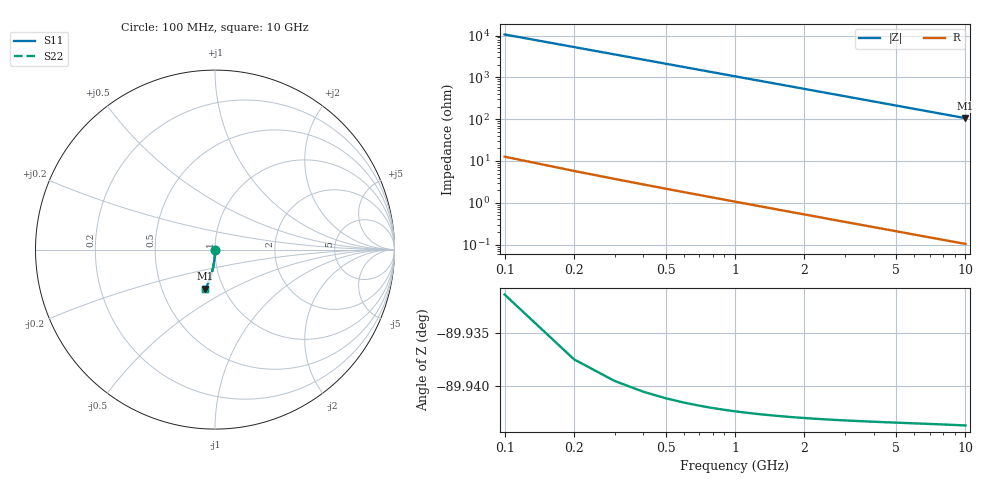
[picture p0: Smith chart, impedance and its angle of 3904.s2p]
# Hz S RI R 50.00
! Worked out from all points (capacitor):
!   100 points, 100 MHz to 10 GHz, reference 50 ohm
!   read as one part in shunt: C = 150 fF near 100 MHz
!   lowest |Z| = 106 ohm at 10 GHz (marker M1)
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1e8  1.94e-05 -0.0023  1 -0.00242  1 -0.00242  1.94e-05 -0.0023
2e8  5.58e-07 -0.00461  0.9999 -0.00483  0.9999 -0.00483  5.58e-07 -0.00461
3e8  -2.95e-05 -0.00691  0.9999 -0.00725  0.9999 -0.00725  -2.95e-05 -0.00691
4e8  -7.06e-05 -0.00921  0.9999 -0.00967  0.9999 -0.00967  -7.06e-05 -0.00921
5e8  -0.000123 -0.0115  0.9998 -0.0121  0.9998 -0.0121  -0.000123 -0.0115
6e8  -0.000186 -0.0138  0.9998 -0.0145  0.9998 -0.0145  -0.000186 -0.0138
7e8  -0.000261 -0.0161  0.9997 -0.0169  0.9997 -0.0169  -0.000261 -0.0161
8e8  -0.000347 -0.0184  0.9996 -0.0193  0.9996 -0.0193  -0.000347 -0.0184
9e8  -0.000444 -0.0207  0.9995 -0.0217  0.9995 -0.0217  -0.000444 -0.0207
1.1e9  -0.000671 -0.0253  0.9993 -0.0266  0.9993 -0.0266  -0.000671 -0.0253
1.4e9  -0.00109 -0.0322  0.9988 -0.0338  0.9988 -0.0338  -0.00109 -0.0322
1.8e9  -0.00181 -0.0414  0.9981 -0.0434  0.9981 -0.0434  -0.00181 -0.0414
2.1e9  -0.00247 -0.0483  0.9975 -0.0507  0.9975 -0.0507  -0.00247 -0.0483
2.5e9  -0.0035 -0.0574  0.9964 -0.0602  0.9964 -0.0602  -0.0035 -0.0574
2.9e9  -0.0047 -0.0665  0.9952 -0.0698  0.9952 -0.0698  -0.0047 -0.0665
3.4e9  -0.00645 -0.0778  0.9935 -0.0817  0.9935 -0.0817  -0.00645 -0.0778
4.2e9  -0.00981 -0.0959  0.9901 -0.1007  0.9901 -0.1007  -0.00981 -0.0959
5.1e9  -0.0144 -0.1159  0.9855 -0.1217  0.9855 -0.1217  -0.0144 -0.1159
5.9e9  -0.0192 -0.1334  0.9807 -0.1402  0.9807 -0.1402  -0.0192 -0.1334
6.7e9  -0.0246 -0.1507  0.9753 -0.1584  0.9753 -0.1584  -0.0246 -0.1507
8.4e9  -0.0382 -0.1864  0.9617 -0.1961  0.9617 -0.1961  -0.0382 -0.1864
1e10  -0.0533 -0.2185  0.9466 -0.23  0.9466 -0.23  -0.0533 -0.2185
